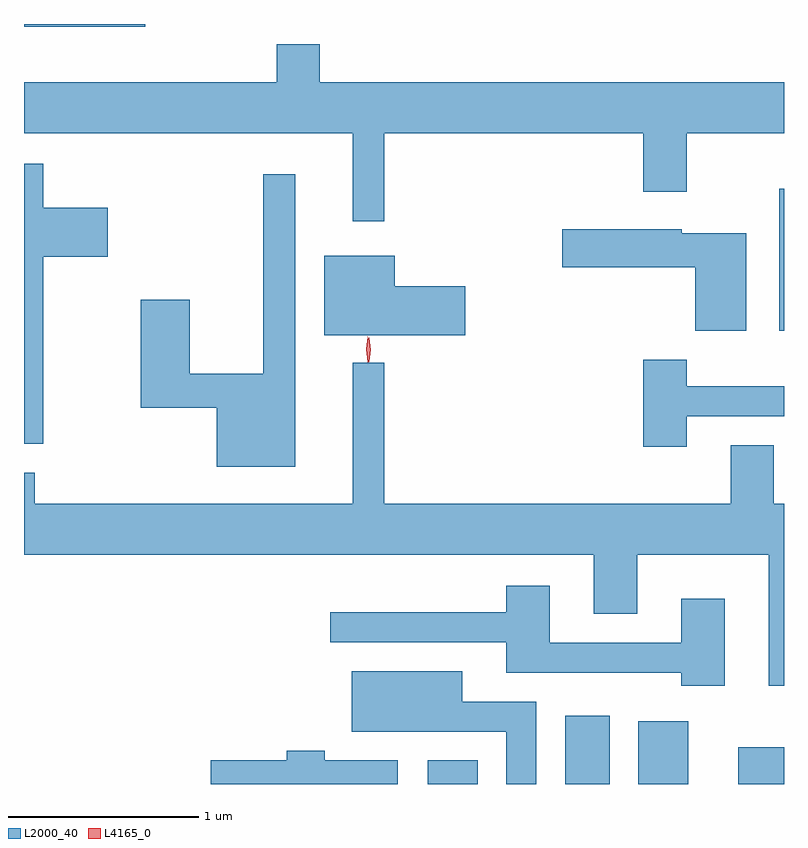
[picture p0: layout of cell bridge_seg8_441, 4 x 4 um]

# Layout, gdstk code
import gdstk
lib = gdstk.Library(unit=1e-6, precision=1e-09)
def R(c, l, rs):  # rectangles x0, y0, x1, y1
    for r in rs: c.add(gdstk.rectangle(r[:2], r[2:], *l))
def P(c, l, *ps):  # polygons
    for p in ps: c.add(gdstk.Polygon(p, *l))
L2000_40 = (2000, 40)
L4165_0 = (4165, 0)

bridge_seg8_441 = lib.new_cell('bridge_seg8_441')
R(bridge_seg8_441, L2000_40, [(985.266,1828.55,985.529,1828.674), (985.991,1828.55,986.224,1828.909), (986.376,1828.55,986.639,1828.879), (986.901,1828.55,987.142,1828.744), (987.116,1830.936,987.142,1831.684), (983.142,1832.536,983.779,1832.55)])
P(bridge_seg8_441, L2000_40, [(985.039,1831.976),(986.401,1831.976),(986.401,1831.666),(986.629,1831.666),(986.629,1831.976),(987.142,1831.976),(987.142,1832.244),(984.699,1832.244),(984.699,1832.444),(984.471,1832.444),(984.471,1832.244),(983.142,1832.244),(983.142,1831.976),(984.871,1831.976),(984.871,1831.513),(985.039,1831.513)],
  [(983.244,1831.326),(983.584,1831.326),(983.584,1831.584),(983.244,1831.584),(983.244,1831.814),(983.142,1831.814),(983.142,1830.341),(983.244,1830.341)],
  [(984.569,1831.758),(984.401,1831.758),(984.401,1830.709),(984.014,1830.709),(984.014,1831.099),(983.756,1831.099),(983.756,1830.531),(984.156,1830.531),(984.156,1830.221),(984.569,1830.221)],
  [(986.944,1831.449),(986.604,1831.449),(986.604,1831.469),(985.976,1831.469),(985.976,1831.271),(986.676,1831.271),(986.676,1830.936),(986.944,1830.936)],
  [(985.464,1831.169),(985.094,1831.169),(985.094,1831.329),(984.721,1831.329),(984.721,1830.911),(985.464,1830.911)],
  [(986.629,1830.486),(987.142,1830.486),(987.142,1830.644),(986.629,1830.644),(986.629,1830.784),(986.401,1830.784),(986.401,1830.326),(986.629,1830.326)],
  [(987.142,1830.024),(987.089,1830.024),(987.089,1830.334),(986.861,1830.334),(986.861,1830.024),(985.039,1830.024),(985.039,1830.768),(984.871,1830.768),(984.871,1830.024),(983.199,1830.024),(983.199,1830.189),(983.142,1830.189),(983.142,1829.756),(986.141,1829.756),(986.141,1829.446),(986.369,1829.446),(986.369,1829.756),(987.061,1829.756),(987.061,1829.066),(987.142,1829.066)],
  [(986.829,1829.524),(986.601,1829.524),(986.601,1829.294),(985.909,1829.294),(985.909,1829.594),(985.681,1829.594),(985.681,1829.454),(984.753,1829.454),(984.753,1829.296),(985.681,1829.296),(985.681,1829.136),(986.601,1829.136),(986.601,1829.066),(986.829,1829.066)],
  [(985.839,1828.984),(985.449,1828.984),(985.449,1829.144),(984.866,1829.144),(984.866,1828.826),(985.681,1828.826),(985.681,1828.55),(985.839,1828.55)],
  [(985.109,1828.674),(984.724,1828.674),(984.724,1828.724),(984.526,1828.724),(984.526,1828.674),(984.126,1828.674),(984.126,1828.55),(985.109,1828.55)])
P(bridge_seg8_441, L4165_0, [(984.952,1830.77),(984.952,1830.77),(984.942,1830.838),(984.95,1830.905),(984.951,1830.906),(984.951,1830.905),(984.961,1830.838),(984.953,1830.77)],
  [(984.957,1830.773),(984.957,1830.773),(984.947,1830.836),(984.957,1830.899),(984.957,1830.9),(984.958,1830.899),(984.967,1830.836),(984.958,1830.773)])

lib.write_gds('bridge_seg8_441.gds')
